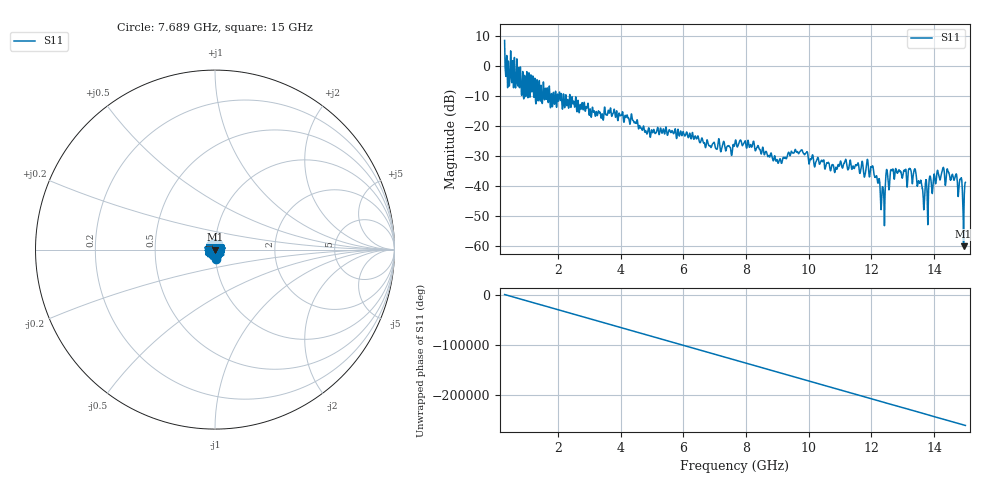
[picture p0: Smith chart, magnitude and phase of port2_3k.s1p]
# GHZ S RI R 50.0
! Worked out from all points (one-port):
!   12801 points, 300 MHz to 15 GHz, reference 50 ohm
!   lowest |S11| = -60.1 dB at 14.94 GHz (marker M1), VSWR 1.00, Z = 50 - j0.0937 ohm
!   |S11| at or under -10 dB: 2.186 GHz to 2.247 GHz (61.55 MHz wide, 2.78 % of centre); 2.257 GHz to 2.374 GHz (116.2 MHz wide, 5.02 % of centre); 2.385 GHz to end of sweep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
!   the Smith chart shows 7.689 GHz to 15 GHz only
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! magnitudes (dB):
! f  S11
! 300 MHz  8.4
! 396.5 MHz  -7.3
! 746.7 MHz  -0.7
! 904.1 MHz  -10.6
! 1.14 GHz  -3.1
! 2.138 GHz  -14.2
! 3.975 GHz  -16.6
! 4.894 GHz  -20.8
! 5.812 GHz  -22.4
! 6.862 GHz  -26.8
! 7.65 GHz  -25.7
! 8.202 GHz  -26.6
! 9.079 GHz  -31.1
! 9.488 GHz  -29.0
! 10.85 GHz  -34.5
! 11.32 GHz  -31.5
! 12.04 GHz  -33.4
! 12.36 GHz  -40.4
! 12.51 GHz  -35.6
! 12.65 GHz  -35.0
! 13.16 GHz  -37.5
! 13.39 GHz  -34.5
! 13.74 GHz  -38.2
! 14.06 GHz  -38.9
! 14.46 GHz  -35.5
! 14.84 GHz  -37.8
! 14.94 GHz  -60.1
! 15 GHz  -38.9
